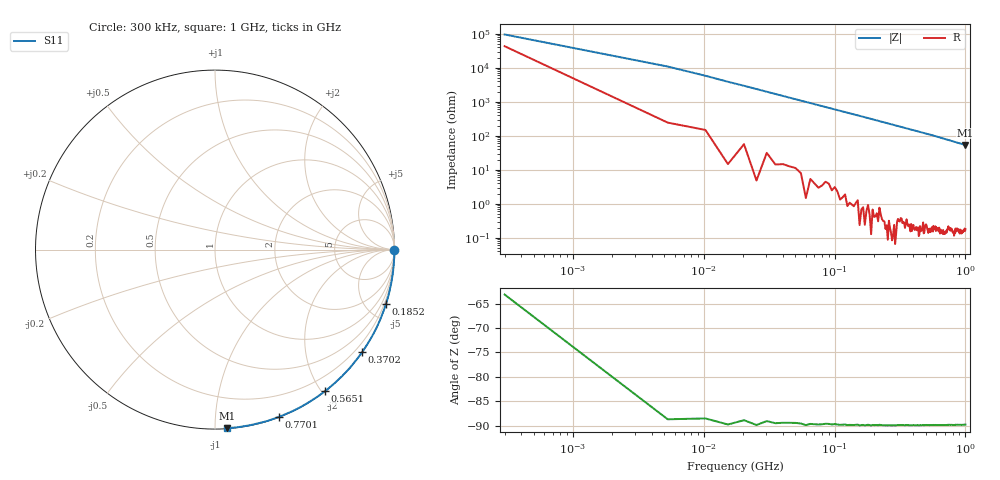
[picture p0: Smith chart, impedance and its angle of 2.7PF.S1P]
!Agilent Technologies,E5071C,MY46520295,B.13.20
!Date: Fri Feb 09 08:24:53 2024
!Data & Calibration Information:
!Freq	S11:SOLT2(ON)
!PortZ  Port1:50+j0
!Above PortZ is port z conversion or system Z0 setting when saving the data.
!When reading, reference impedance value at option line is always used.
# Hz S RI R 50
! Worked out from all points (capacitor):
!   201 points, 300 kHz to 1 GHz, reference 50 ohm
!   read as one part to ground: C = 2.68 pF near 5.298 MHz
!   lowest |Z| = 53.5 ohm at 1 GHz (marker M1)
!   S11 on the Smith chart (normalised r, x): 300 kHz: open; 185.2 MHz: 0.01, -6.46; 370.2 MHz: 0.00, -3.19; 565.1 MHz: 0.00, -2.05; 770.1 MHz: 0.00, -1.45; 1 GHz: 0.00, -1.07
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300000  0.9995 -0.000932
2.52925e7  0.999 -0.0422
6.0282e7  0.9948 -0.1
1.252625e8  0.9782 -0.206
1.552535e8  0.9669 -0.2545
1.852445e8  0.9528 -0.3021
2.152355e8  0.9369 -0.3486
2.50225e8  0.9153 -0.4017
2.952115e8  0.8837 -0.4673
3.30201e8  0.8553 -0.5166
3.70189e8  0.8205 -0.5701
3.751875e8  0.8161 -0.5766
4.10177e8  0.7832 -0.6206
4.40168e8  0.7529 -0.6573
4.80156e8  0.7106 -0.7025
5.0015e8  0.6884 -0.7232
5.40138e8  0.6434 -0.7642
5.651305e8  0.6141 -0.7878
5.951215e8  0.5776 -0.8147
6.251125e8  0.5413 -0.8392
6.60102e8  0.4977 -0.8657
7.0009e8  0.4473 -0.8928
7.50075e8  0.3828 -0.9213
7.70069e8  0.3575 -0.9317
8.20054e8  0.2936 -0.9542
8.750375e8  0.223 -0.9719
9.350195e8  0.1479 -0.9867
1e9  0.0675 -0.9944
